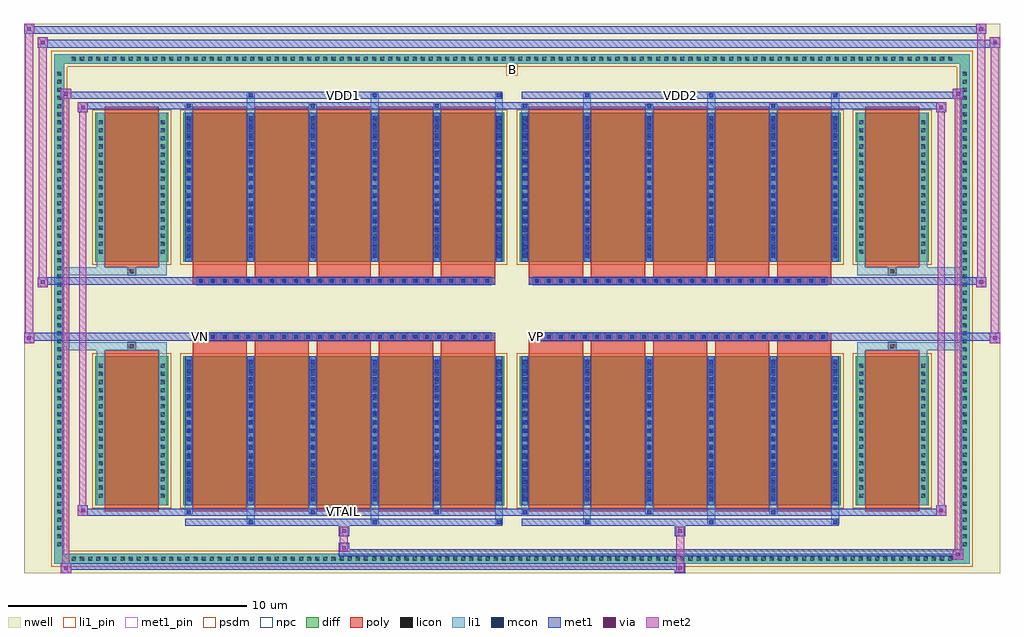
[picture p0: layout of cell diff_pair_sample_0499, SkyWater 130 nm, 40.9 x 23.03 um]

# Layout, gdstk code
import gdstk
lib = gdstk.Library(unit=1e-6, precision=5e-09)
def R(c, l, rs):  # rectangles x0, y0, x1, y1
    for r in rs: c.add(gdstk.rectangle(r[:2], r[2:], *l))
def A(c, l, x, y, w, h, nx, ny, dx, dy):  # array of equal rectangles
    R(c, l, [(x+i*dx, y+j*dy, x+i*dx+w, y+j*dy+h) for i in range(nx) for j in range(ny)])
def P(c, l, *ps):  # polygons
    for p in ps: c.add(gdstk.Polygon(p, *l))
nwell = (64, 20)
diff = (65, 20)
poly = (66, 20)
licon = (66, 44)
li1_pin = (67, 16)
li1 = (67, 20)
mcon = (67, 44)
met1_pin = (68, 16)
met1 = (68, 20)
via = (68, 44)
met2 = (69, 20)
psdm = (94, 20)
npc = (95, 20)

diff_pair_sample_0499 = lib.new_cell('diff_pair_sample_0499')
R(diff_pair_sample_0499, nwell, [(-20.45,-11.08,20.45,11.95), (-17.77,-9.27,-0.01,-0.805), (0.01,-9.27,17.77,-0.805), (-17.77,0.805,-0.01,9.27), (0.01,0.805,17.77,9.27)])
A(diff_pair_sample_0499, diff, -18.565, -10.68, 0.41, 0.41, 109, 2, 0.34, 20.95)
A(diff_pair_sample_0499, diff, -19.18, -10.065, 0.41, 0.41, 1, 59, 0, 0.34)
A(diff_pair_sample_0499, diff, 18.77, -10.065, 0.41, 0.41, 1, 59, 0, 0.34)
R(diff_pair_sample_0499, diff, [(-18.565,-10.68,18.565,-10.27), (-19.18,-10.065,-18.77,10.065), (18.77,-10.065,19.18,10.065), (-17.46,-8.225,-14.41,-1.985), (-13.77,-8.225,-0.32,-1.985), (0.32,-8.225,13.77,-1.985), (14.41,-8.225,17.46,-1.985), (-17.46,1.985,-14.41,8.225), (-13.77,1.985,-0.32,8.225), (0.32,1.985,13.77,8.225), (14.41,1.985,17.46,8.225), (-18.565,10.27,18.565,10.68)])
P(diff_pair_sample_0499, diff, [(19.18,10.68),(-19.18,10.68),(-19.18,-10.27),(-18.77,-10.27),(-18.77,10.27),(18.77,10.27),(18.77,-10.27),(-18.77,-10.27),(-19.18,-10.27),(-19.18,-10.68),(19.18,-10.68)])
A(diff_pair_sample_0499, poly, -13.38, -8.475, 2.27, 6.74, 5, 2, 2.6, 10.21)
A(diff_pair_sample_0499, poly, 0.71, -8.475, 2.27, 6.74, 5, 2, 2.6, 10.21)
A(diff_pair_sample_0499, poly, -13.38, -1.735, 2.27, 0.4, 5, 2, 2.6, 3.07)
A(diff_pair_sample_0499, poly, 0.71, -1.735, 2.27, 0.4, 5, 2, 2.6, 3.07)
A(diff_pair_sample_0499, poly, -13.21, -1.335, 0.33, 0.33, 25, 2, 0.5, 2.34)
A(diff_pair_sample_0499, poly, 0.88, -1.335, 0.33, 0.33, 25, 2, 0.5, 2.34)
R(diff_pair_sample_0499, poly, [(-17.07,-8.475,-14.8,-1.735), (14.8,-8.475,17.07,-1.735), (-16.1,-1.735,-15.77,-1.405), (-16.1,-1.735,-15.77,-1.405), (15.77,-1.735,16.1,-1.405), (15.77,-1.735,16.1,-1.405), (-13.38,-1.335,-0.71,-1.005), (0.71,-1.335,13.38,-1.005), (-13.38,1.005,-0.71,1.335), (0.71,1.005,13.38,1.335), (-16.1,1.405,-15.77,1.735), (-16.1,1.405,-15.77,1.735), (15.77,1.405,16.1,1.735), (15.77,1.405,16.1,1.735), (-17.07,1.735,-14.8,8.475), (14.8,1.735,17.07,8.475)])
A(diff_pair_sample_0499, licon, -18.445, -10.56, 0.17, 0.17, 109, 2, 0.34, 20.95)
A(diff_pair_sample_0499, licon, -19.06, -9.945, 0.17, 0.17, 1, 59, 0, 0.34)
A(diff_pair_sample_0499, licon, 18.89, -9.945, 0.17, 0.17, 1, 59, 0, 0.34)
A(diff_pair_sample_0499, licon, -17.32, -7.91, 0.17, 0.17, 1, 17, 0, 0.34)
A(diff_pair_sample_0499, licon, -14.72, -7.91, 0.17, 0.17, 1, 17, 0, 0.34)
A(diff_pair_sample_0499, licon, -13.63, -7.91, 0.17, 0.17, 6, 17, 2.6, 0.34)
A(diff_pair_sample_0499, licon, 0.46, -7.91, 0.17, 0.17, 6, 17, 2.6, 0.34)
A(diff_pair_sample_0499, licon, 14.55, -7.91, 0.17, 0.17, 1, 17, 0, 0.34)
A(diff_pair_sample_0499, licon, 17.15, -7.91, 0.17, 0.17, 1, 17, 0, 0.34)
A(diff_pair_sample_0499, licon, -13.13, -1.255, 0.17, 0.17, 25, 2, 0.5, 2.34)
A(diff_pair_sample_0499, licon, 0.96, -1.255, 0.17, 0.17, 25, 2, 0.5, 2.34)
A(diff_pair_sample_0499, licon, -17.32, 2.3, 0.17, 0.17, 1, 17, 0, 0.34)
A(diff_pair_sample_0499, licon, -14.72, 2.3, 0.17, 0.17, 1, 17, 0, 0.34)
A(diff_pair_sample_0499, licon, -13.63, 2.3, 0.17, 0.17, 6, 17, 2.6, 0.34)
A(diff_pair_sample_0499, licon, 0.46, 2.3, 0.17, 0.17, 6, 17, 2.6, 0.34)
A(diff_pair_sample_0499, licon, 14.55, 2.3, 0.17, 0.17, 1, 17, 0, 0.34)
A(diff_pair_sample_0499, licon, 17.15, 2.3, 0.17, 0.17, 1, 17, 0, 0.34)
R(diff_pair_sample_0499, licon, [(-16.02,-1.655,-15.85,-1.485), (15.85,-1.655,16.02,-1.485), (-16.02,1.485,-15.85,1.655), (15.85,1.485,16.02,1.655)])
R(diff_pair_sample_0499, li1_pin, [(-0.25,9.77,0.25,10.27)])
A(diff_pair_sample_0499, li1, -18.525, -10.64, 0.33, 0.33, 109, 2, 0.34, 20.95)
A(diff_pair_sample_0499, li1, -19.14, -10.025, 0.33, 0.33, 1, 59, 0, 0.34)
A(diff_pair_sample_0499, li1, 18.81, -10.025, 0.33, 0.33, 1, 59, 0, 0.34)
A(diff_pair_sample_0499, li1, -11.11, -9.03, 0.33, 0.805, 3, 2, 5.2, 17.255)
A(diff_pair_sample_0499, li1, -11.03, -9.03, 0.17, 0.17, 3, 2, 5.2, 17.89)
A(diff_pair_sample_0499, li1, 2.98, -9.03, 0.33, 0.805, 3, 2, 5.2, 17.255)
A(diff_pair_sample_0499, li1, 3.06, -9.03, 0.17, 0.17, 3, 2, 5.2, 17.89)
A(diff_pair_sample_0499, li1, -13.71, -8.6, 0.33, 0.375, 3, 2, 5.2, 16.825)
A(diff_pair_sample_0499, li1, -13.63, -8.6, 0.17, 0.17, 3, 2, 5.2, 17.03)
A(diff_pair_sample_0499, li1, 0.38, -8.6, 0.33, 0.375, 3, 2, 5.2, 16.825)
A(diff_pair_sample_0499, li1, 0.46, -8.6, 0.17, 0.17, 3, 2, 5.2, 17.03)
A(diff_pair_sample_0499, li1, -13.71, -8.225, 0.33, 6.24, 6, 2, 2.6, 10.21)
A(diff_pair_sample_0499, li1, 0.38, -8.225, 0.33, 6.24, 6, 2, 2.6, 10.21)
A(diff_pair_sample_0499, li1, -13.63, -8.07, 0.17, 0.17, 6, 17, 2.6, 0.36)
A(diff_pair_sample_0499, li1, -13.63, -8.07, 0.17, 5.93, 6, 2, 2.6, 10.21)
A(diff_pair_sample_0499, li1, 0.46, -8.07, 0.17, 0.17, 6, 17, 2.6, 0.36)
A(diff_pair_sample_0499, li1, 0.46, -8.07, 0.17, 5.93, 6, 2, 2.6, 10.21)
A(diff_pair_sample_0499, li1, -17.4, -7.99, 0.33, 0.33, 1, 17, 0, 0.34)
A(diff_pair_sample_0499, li1, -14.8, -7.99, 0.33, 0.33, 1, 17, 0, 0.34)
A(diff_pair_sample_0499, li1, -13.71, -7.99, 0.33, 0.33, 6, 17, 2.6, 0.34)
A(diff_pair_sample_0499, li1, 0.38, -7.99, 0.33, 0.33, 6, 17, 2.6, 0.34)
A(diff_pair_sample_0499, li1, 14.47, -7.99, 0.33, 0.33, 1, 17, 0, 0.34)
A(diff_pair_sample_0499, li1, 17.07, -7.99, 0.33, 0.33, 1, 17, 0, 0.34)
A(diff_pair_sample_0499, li1, -13.21, -1.335, 0.33, 0.33, 25, 2, 0.5, 2.34)
A(diff_pair_sample_0499, li1, 0.88, -1.335, 0.33, 0.33, 25, 2, 0.5, 2.34)
A(diff_pair_sample_0499, li1, -13.63, 2.14, 0.17, 0.17, 6, 17, 2.6, 0.36)
A(diff_pair_sample_0499, li1, 0.46, 2.14, 0.17, 0.17, 6, 17, 2.6, 0.36)
A(diff_pair_sample_0499, li1, -17.4, 2.22, 0.33, 0.33, 1, 17, 0, 0.34)
A(diff_pair_sample_0499, li1, -14.8, 2.22, 0.33, 0.33, 1, 17, 0, 0.34)
A(diff_pair_sample_0499, li1, -13.71, 2.22, 0.33, 0.33, 6, 17, 2.6, 0.34)
A(diff_pair_sample_0499, li1, 0.38, 2.22, 0.33, 0.33, 6, 17, 2.6, 0.34)
A(diff_pair_sample_0499, li1, 14.47, 2.22, 0.33, 0.33, 1, 17, 0, 0.34)
A(diff_pair_sample_0499, li1, 17.07, 2.22, 0.33, 0.33, 1, 17, 0, 0.34)
R(diff_pair_sample_0499, li1, [(-19.18,-10.68,-18.77,-10.27), (-19.18,-10.68,-18.77,-10.27), (-18.77,-10.68,18.77,-10.27), (18.77,-10.68,19.18,-10.27), (18.77,-10.68,19.18,-10.27), (-19.18,-10.27,-18.77,10.27), (18.77,-10.27,19.18,10.27), (-17.4,-8.225,-17.07,-1.985), (-14.8,-8.225,-14.47,-1.985), (14.47,-8.225,14.8,-1.985), (17.07,-8.225,17.4,-1.985), (-17.4,-1.985,-17.07,-1.405), (-14.8,-1.985,-14.47,-1.405), (14.47,-1.985,14.8,-1.405), (17.07,-1.985,17.4,-1.405), (-19.18,-1.735,-16.1,-1.405), (-17.4,-1.735,-16.1,-1.405), (-16.1,-1.735,-15.77,-1.405), (-15.77,-1.735,-14.47,-1.405), (14.47,-1.735,15.77,-1.405), (15.77,-1.735,16.1,-1.405), (15.77,-1.735,19.18,-1.405), (16.1,-1.735,17.4,-1.405), (-19.18,1.405,-16.1,1.735), (-17.4,1.405,-16.1,1.735), (-17.4,1.405,-17.07,1.985), (-16.1,1.405,-15.77,1.735), (-15.77,1.405,-14.47,1.735), (-14.8,1.405,-14.47,1.985), (14.47,1.405,15.77,1.735), (14.47,1.405,14.8,1.985), (15.77,1.405,16.1,1.735), (15.77,1.405,19.18,1.735), (16.1,1.405,17.4,1.735), (17.07,1.405,17.4,1.985), (-17.4,1.985,-17.07,8.225), (-14.8,1.985,-14.47,8.225), (14.47,1.985,14.8,8.225), (17.07,1.985,17.4,8.225), (-19.18,10.27,-18.77,10.68), (-19.18,10.27,-18.77,10.68), (-18.77,10.27,18.77,10.68), (18.77,10.27,19.18,10.68), (18.77,10.27,19.18,10.68)])
A(diff_pair_sample_0499, mcon, -11.03, -9.03, 0.17, 0.17, 3, 2, 5.2, 17.89)
A(diff_pair_sample_0499, mcon, 3.06, -9.03, 0.17, 0.17, 3, 2, 5.2, 17.89)
A(diff_pair_sample_0499, mcon, -13.63, -8.6, 0.17, 0.17, 3, 2, 5.2, 17.03)
A(diff_pair_sample_0499, mcon, 0.46, -8.6, 0.17, 0.17, 3, 2, 5.2, 17.03)
A(diff_pair_sample_0499, mcon, -13.63, -8.07, 0.17, 0.17, 6, 17, 2.6, 0.36)
A(diff_pair_sample_0499, mcon, 0.46, -8.07, 0.17, 0.17, 6, 17, 2.6, 0.36)
A(diff_pair_sample_0499, mcon, -13.13, -1.255, 0.17, 0.17, 25, 2, 0.5, 2.34)
A(diff_pair_sample_0499, mcon, 0.96, -1.255, 0.17, 0.17, 25, 2, 0.5, 2.34)
A(diff_pair_sample_0499, mcon, -13.63, 2.14, 0.17, 0.17, 6, 17, 2.6, 0.36)
A(diff_pair_sample_0499, mcon, 0.46, 2.14, 0.17, 0.17, 6, 17, 2.6, 0.36)
R(diff_pair_sample_0499, met1_pin, [(-7.18,-8.64,-6.91,-8.37), (-13.18,-1.295,-12.91,-1.025), (0.91,-1.295,1.18,-1.025), (-7.18,8.82,-6.91,9.09), (6.91,8.82,7.18,9.09)])
A(diff_pair_sample_0499, met1, -11.09, -9.09, 0.29, 0.29, 3, 2, 5.2, 17.89)
A(diff_pair_sample_0499, met1, 3, -9.09, 0.29, 0.29, 3, 2, 5.2, 17.89)
A(diff_pair_sample_0499, met1, -13.69, -8.66, 0.29, 0.29, 3, 2, 5.2, 17.03)
A(diff_pair_sample_0499, met1, 0.4, -8.66, 0.29, 0.29, 3, 2, 5.2, 17.03)
A(diff_pair_sample_0499, met1, -13.69, -8.225, 0.29, 6.24, 6, 2, 2.6, 10.21)
A(diff_pair_sample_0499, met1, 0.4, -8.225, 0.29, 6.24, 6, 2, 2.6, 10.21)
A(diff_pair_sample_0499, met1, -13.69, -8.13, 0.29, 0.29, 6, 17, 2.6, 0.36)
A(diff_pair_sample_0499, met1, 0.4, -8.13, 0.29, 0.29, 6, 17, 2.6, 0.36)
A(diff_pair_sample_0499, met1, -13.19, -1.315, 0.29, 0.29, 25, 2, 0.5, 2.34)
A(diff_pair_sample_0499, met1, 0.9, -1.315, 0.29, 0.29, 25, 2, 0.5, 2.34)
A(diff_pair_sample_0499, met1, -13.69, 2.08, 0.29, 0.29, 6, 17, 2.6, 0.36)
A(diff_pair_sample_0499, met1, 0.4, 2.08, 0.29, 0.29, 6, 17, 2.6, 0.36)
R(diff_pair_sample_0499, met1, [(-18.91,-11.08,-18.48,-10.65), (6.83,-11.08,7.26,-10.65), (-18.91,-10.94,7.26,-10.65), (18.48,-10.51,18.91,-10.08), (-7.26,-10.37,18.91,-10.08), (-7.26,-10.23,-6.83,-9.8), (-7.26,-9.52,-6.83,-9.09), (6.83,-9.52,7.26,-9.09), (-13.69,-9.09,-0.4,-8.8), (0.4,-9.09,13.69,-8.8), (-18.2,-8.66,-17.77,-8.23), (-18.2,-8.66,-13.69,-8.37), (-13.69,-8.66,-0.4,-8.37), (-0.4,-8.66,0.4,-8.37), (0.4,-8.66,13.69,-8.37), (13.69,-8.66,18.2,-8.37), (17.77,-8.66,18.2,-8.23), (-20.45,-1.435,-20.02,-1.005), (20.02,-1.435,20.45,-1.005), (-20.45,-1.335,-0.71,-1.005), (-13.38,-1.335,-0.71,-1.005), (0.71,-1.335,13.38,-1.005), (0.71,-1.335,20.45,-1.005), (-19.88,0.905,-19.45,1.335), (19.45,0.905,19.88,1.335), (-19.88,1.005,-13.38,1.335), (-13.38,1.005,-0.71,1.335), (0.71,1.005,13.38,1.335), (13.38,1.005,19.88,1.335), (-18.2,8.23,-17.77,8.66), (17.77,8.23,18.2,8.66), (-18.2,8.37,-13.69,8.66), (-13.69,8.37,-0.4,8.66), (-0.4,8.37,0.4,8.66), (0.4,8.37,13.69,8.66), (13.69,8.37,18.2,8.66), (-18.91,8.8,-18.48,9.23), (-18.91,8.8,-13.69,9.09), (-13.69,8.8,-0.4,9.09), (0.4,8.8,13.69,9.09), (13.69,8.8,18.91,9.09), (18.48,8.8,18.91,9.23), (-19.88,10.95,-19.45,11.38), (-19.88,10.95,-17.77,11.28), (-17.77,10.95,17.77,11.28), (17.77,10.95,20.45,11.28), (20.02,10.95,20.45,11.38), (-20.45,11.52,-20.02,11.95), (-20.45,11.52,-17.77,11.85), (-17.77,11.52,17.77,11.85), (17.77,11.52,19.88,11.85), (19.45,11.52,19.88,11.95)])
R(diff_pair_sample_0499, via, [(-18.77,-10.94,-18.62,-10.79), (6.97,-10.94,7.12,-10.79), (18.62,-10.37,18.77,-10.22), (-7.12,-10.09,-6.97,-9.94), (-7.12,-9.38,-6.97,-9.23), (6.97,-9.38,7.12,-9.23), (-18.06,-8.52,-17.91,-8.37), (17.91,-8.52,18.06,-8.37), (-20.31,-1.295,-20.16,-1.145), (20.16,-1.295,20.31,-1.145), (-19.74,1.045,-19.59,1.195), (19.59,1.045,19.74,1.195), (-18.06,8.37,-17.91,8.52), (17.91,8.37,18.06,8.52), (-18.77,8.94,-18.62,9.09), (18.62,8.94,18.77,9.09), (-19.74,11.09,-19.59,11.24), (20.16,11.09,20.31,11.24), (-20.31,11.66,-20.16,11.81), (19.59,11.66,19.74,11.81)])
R(diff_pair_sample_0499, met2, [(-18.91,-11.08,-18.48,-10.65), (-18.84,-11.08,-18.55,9.23), (-18.55,-11.08,-18.48,-10.65), (-18.86,-11.03,-18.53,-10.7), (6.88,-11.03,7.21,-10.7), (6.88,-10.7,7.21,-9.47), (18.48,-10.51,18.91,-10.08), (18.55,-10.51,18.84,9.23), (18.84,-10.51,18.91,-10.08), (18.53,-10.46,18.86,-10.13), (-7.21,-10.18,-6.88,-9.85), (-7.21,-9.85,-6.88,-9.47), (-7.21,-9.47,-6.88,-9.14), (6.88,-9.47,7.21,-9.14), (-18.2,-8.66,-17.77,-8.23), (-18.13,-8.66,-17.84,8.66), (-17.84,-8.66,-17.77,-8.23), (17.77,-8.66,18.2,-8.23), (17.84,-8.66,18.13,8.66), (18.13,-8.66,18.2,-8.23), (-18.15,-8.61,-17.82,-8.28), (17.82,-8.61,18.15,-8.28), (-20.45,-1.435,-20.02,-1.005), (-20.4,-1.435,-20.07,11.95), (-20.07,-1.435,-20.02,-1.005), (20.02,-1.435,20.45,-1.005), (20.07,-1.435,20.4,11.38), (20.4,-1.435,20.45,-1.005), (-20.4,-1.385,-20.07,-1.055), (20.07,-1.385,20.4,-1.055), (-19.88,0.905,-19.45,1.335), (-19.83,0.905,-19.5,11.38), (-19.5,0.905,-19.45,1.335), (19.45,0.905,19.88,1.335), (19.5,0.905,19.83,11.95), (19.83,0.905,19.88,1.335), (-19.83,0.955,-19.5,1.285), (19.5,0.955,19.83,1.285), (-18.2,8.23,-17.77,8.66), (-17.84,8.23,-17.77,8.66), (17.77,8.23,18.2,8.66), (18.13,8.23,18.2,8.66), (-18.15,8.28,-17.82,8.61), (17.82,8.28,18.15,8.61), (-18.91,8.8,-18.48,9.23), (-18.55,8.8,-18.48,9.23), (18.48,8.8,18.91,9.23), (18.84,8.8,18.91,9.23), (-18.86,8.85,-18.53,9.18), (18.53,8.85,18.86,9.18), (-19.88,10.95,-19.45,11.38), (-19.5,10.95,-19.45,11.38), (20.02,10.95,20.45,11.38), (20.4,10.95,20.45,11.38), (-19.83,11,-19.5,11.33), (20.07,11,20.4,11.33), (-20.45,11.52,-20.02,11.95), (-20.07,11.52,-20.02,11.95), (19.45,11.52,19.88,11.95), (19.83,11.52,19.88,11.95), (-20.4,11.57,-20.07,11.9), (19.5,11.57,19.83,11.9)])
R(diff_pair_sample_0499, psdm, [(-17.59,-8.355,-14.28,-1.855), (-13.9,-8.355,-0.19,-1.855), (0.19,-8.355,13.9,-1.855), (14.28,-8.355,17.59,-1.855), (-17.59,1.855,-14.28,8.355), (-13.9,1.855,-0.19,8.355), (0.19,1.855,13.9,8.355), (14.28,1.855,17.59,8.355)])
P(diff_pair_sample_0499, psdm, [(19.31,10.81),(-19.31,10.81),(-19.31,-10.14),(-18.64,-10.14),(-18.64,10.14),(18.64,10.14),(18.64,-10.14),(-18.64,-10.14),(-19.31,-10.14),(-19.31,-10.81),(19.31,-10.81)])
A(diff_pair_sample_0499, npc, -13.23, -1.355, 0.37, 0.37, 25, 2, 0.5, 2.34)
A(diff_pair_sample_0499, npc, 0.86, -1.355, 0.37, 0.37, 25, 2, 0.5, 2.34)
R(diff_pair_sample_0499, npc, [(-16.12,-1.755,-15.75,-1.385), (15.75,-1.755,16.12,-1.385), (-13.23,-1.355,-12.36,-0.985), (-13.23,-1.355,-12.36,-0.985), (-12.73,-1.355,-11.86,-0.985), (-12.73,-1.355,-11.86,-0.985), (-12.23,-1.355,-11.36,-0.985), (-12.23,-1.355,-11.36,-0.985), (-11.73,-1.355,-10.86,-0.985), (-11.73,-1.355,-10.86,-0.985), (-11.23,-1.355,-10.36,-0.985), (-11.23,-1.355,-10.36,-0.985), (-10.73,-1.355,-9.86,-0.985), (-10.73,-1.355,-9.86,-0.985), (-10.23,-1.355,-9.36,-0.985), (-10.23,-1.355,-9.36,-0.985), (-9.73,-1.355,-8.86,-0.985), (-9.73,-1.355,-8.86,-0.985), (-9.23,-1.355,-8.36,-0.985), (-9.23,-1.355,-8.36,-0.985), (-8.73,-1.355,-7.86,-0.985), (-8.73,-1.355,-7.86,-0.985), (-8.23,-1.355,-7.36,-0.985), (-8.23,-1.355,-7.36,-0.985), (-7.73,-1.355,-6.86,-0.985), (-7.73,-1.355,-6.86,-0.985), (-7.23,-1.355,-6.36,-0.985), (-7.23,-1.355,-6.36,-0.985), (-6.73,-1.355,-5.86,-0.985), (-6.73,-1.355,-5.86,-0.985), (-6.23,-1.355,-5.36,-0.985), (-6.23,-1.355,-5.36,-0.985), (-5.73,-1.355,-4.86,-0.985), (-5.73,-1.355,-4.86,-0.985), (-5.23,-1.355,-4.36,-0.985), (-5.23,-1.355,-4.36,-0.985), (-4.73,-1.355,-3.86,-0.985), (-4.73,-1.355,-3.86,-0.985), (-4.23,-1.355,-3.36,-0.985), (-4.23,-1.355,-3.36,-0.985), (-3.73,-1.355,-2.86,-0.985), (-3.73,-1.355,-2.86,-0.985), (-3.23,-1.355,-2.36,-0.985), (-3.23,-1.355,-2.36,-0.985), (-2.73,-1.355,-1.86,-0.985), (-2.73,-1.355,-1.86,-0.985), (-2.23,-1.355,-1.36,-0.985), (-2.23,-1.355,-1.36,-0.985), (-1.73,-1.355,-0.86,-0.985), (-1.73,-1.355,-0.86,-0.985), (0.86,-1.355,1.73,-0.985), (0.86,-1.355,1.73,-0.985), (1.36,-1.355,2.23,-0.985), (1.36,-1.355,2.23,-0.985), (1.86,-1.355,2.73,-0.985), (1.86,-1.355,2.73,-0.985), (2.36,-1.355,3.23,-0.985), (2.36,-1.355,3.23,-0.985), (2.86,-1.355,3.73,-0.985), (2.86,-1.355,3.73,-0.985), (3.36,-1.355,4.23,-0.985), (3.36,-1.355,4.23,-0.985), (3.86,-1.355,4.73,-0.985), (3.86,-1.355,4.73,-0.985), (4.36,-1.355,5.23,-0.985), (4.36,-1.355,5.23,-0.985), (4.86,-1.355,5.73,-0.985), (4.86,-1.355,5.73,-0.985), (5.36,-1.355,6.23,-0.985), (5.36,-1.355,6.23,-0.985), (5.86,-1.355,6.73,-0.985), (5.86,-1.355,6.73,-0.985), (6.36,-1.355,7.23,-0.985), (6.36,-1.355,7.23,-0.985), (6.86,-1.355,7.73,-0.985), (6.86,-1.355,7.73,-0.985), (7.36,-1.355,8.23,-0.985), (7.36,-1.355,8.23,-0.985), (7.86,-1.355,8.73,-0.985), (7.86,-1.355,8.73,-0.985), (8.36,-1.355,9.23,-0.985), (8.36,-1.355,9.23,-0.985), (8.86,-1.355,9.73,-0.985), (8.86,-1.355,9.73,-0.985), (9.36,-1.355,10.23,-0.985), (9.36,-1.355,10.23,-0.985), (9.86,-1.355,10.73,-0.985), (9.86,-1.355,10.73,-0.985), (10.36,-1.355,11.23,-0.985), (10.36,-1.355,11.23,-0.985), (10.86,-1.355,11.73,-0.985), (10.86,-1.355,11.73,-0.985), (11.36,-1.355,12.23,-0.985), (11.36,-1.355,12.23,-0.985), (11.86,-1.355,12.73,-0.985), (11.86,-1.355,12.73,-0.985), (12.36,-1.355,13.23,-0.985), (12.36,-1.355,13.23,-0.985), (-13.23,0.985,-12.36,1.355), (-13.23,0.985,-12.36,1.355), (-12.73,0.985,-11.86,1.355), (-12.73,0.985,-11.86,1.355), (-12.23,0.985,-11.36,1.355), (-12.23,0.985,-11.36,1.355), (-11.73,0.985,-10.86,1.355), (-11.73,0.985,-10.86,1.355), (-11.23,0.985,-10.36,1.355), (-11.23,0.985,-10.36,1.355), (-10.73,0.985,-9.86,1.355), (-10.73,0.985,-9.86,1.355), (-10.23,0.985,-9.36,1.355), (-10.23,0.985,-9.36,1.355), (-9.73,0.985,-8.86,1.355), (-9.73,0.985,-8.86,1.355), (-9.23,0.985,-8.36,1.355), (-9.23,0.985,-8.36,1.355), (-8.73,0.985,-7.86,1.355), (-8.73,0.985,-7.86,1.355), (-8.23,0.985,-7.36,1.355), (-8.23,0.985,-7.36,1.355), (-7.73,0.985,-6.86,1.355), (-7.73,0.985,-6.86,1.355), (-7.23,0.985,-6.36,1.355), (-7.23,0.985,-6.36,1.355), (-6.73,0.985,-5.86,1.355), (-6.73,0.985,-5.86,1.355), (-6.23,0.985,-5.36,1.355), (-6.23,0.985,-5.36,1.355), (-5.73,0.985,-4.86,1.355), (-5.73,0.985,-4.86,1.355), (-5.23,0.985,-4.36,1.355), (-5.23,0.985,-4.36,1.355), (-4.73,0.985,-3.86,1.355), (-4.73,0.985,-3.86,1.355), (-4.23,0.985,-3.36,1.355), (-4.23,0.985,-3.36,1.355), (-3.73,0.985,-2.86,1.355), (-3.73,0.985,-2.86,1.355), (-3.23,0.985,-2.36,1.355), (-3.23,0.985,-2.36,1.355), (-2.73,0.985,-1.86,1.355), (-2.73,0.985,-1.86,1.355), (-2.23,0.985,-1.36,1.355), (-2.23,0.985,-1.36,1.355), (-1.73,0.985,-0.86,1.355), (-1.73,0.985,-0.86,1.355), (0.86,0.985,1.73,1.355), (0.86,0.985,1.73,1.355), (1.36,0.985,2.23,1.355), (1.36,0.985,2.23,1.355), (1.86,0.985,2.73,1.355), (1.86,0.985,2.73,1.355), (2.36,0.985,3.23,1.355), (2.36,0.985,3.23,1.355), (2.86,0.985,3.73,1.355), (2.86,0.985,3.73,1.355), (3.36,0.985,4.23,1.355), (3.36,0.985,4.23,1.355), (3.86,0.985,4.73,1.355), (3.86,0.985,4.73,1.355), (4.36,0.985,5.23,1.355), (4.36,0.985,5.23,1.355), (4.86,0.985,5.73,1.355), (4.86,0.985,5.73,1.355), (5.36,0.985,6.23,1.355), (5.36,0.985,6.23,1.355), (5.86,0.985,6.73,1.355), (5.86,0.985,6.73,1.355), (6.36,0.985,7.23,1.355), (6.36,0.985,7.23,1.355), (6.86,0.985,7.73,1.355), (6.86,0.985,7.73,1.355), (7.36,0.985,8.23,1.355), (7.36,0.985,8.23,1.355), (7.86,0.985,8.73,1.355), (7.86,0.985,8.73,1.355), (8.36,0.985,9.23,1.355), (8.36,0.985,9.23,1.355), (8.86,0.985,9.73,1.355), (8.86,0.985,9.73,1.355), (9.36,0.985,10.23,1.355), (9.36,0.985,10.23,1.355), (9.86,0.985,10.73,1.355), (9.86,0.985,10.73,1.355), (10.36,0.985,11.23,1.355), (10.36,0.985,11.23,1.355), (10.86,0.985,11.73,1.355), (10.86,0.985,11.73,1.355), (11.36,0.985,12.23,1.355), (11.36,0.985,12.23,1.355), (11.86,0.985,12.73,1.355), (11.86,0.985,12.73,1.355), (12.36,0.985,13.23,1.355), (12.36,0.985,13.23,1.355), (-16.12,1.385,-15.75,1.755), (15.75,1.385,16.12,1.755)])
diff_pair_sample_0499.add(gdstk.Label('VTAIL', (-7.045,-8.505), layer=68, texttype=5))
diff_pair_sample_0499.add(gdstk.Label('VN', (-13.045,-1.16), layer=68, texttype=5))
diff_pair_sample_0499.add(gdstk.Label('VP', (1.045,-1.16), layer=68, texttype=5))
diff_pair_sample_0499.add(gdstk.Label('B', (0,10.02), layer=67, texttype=5))
diff_pair_sample_0499.add(gdstk.Label('VDD2', (7.045,8.955), layer=68, texttype=5))
diff_pair_sample_0499.add(gdstk.Label('VDD1', (-7.045,8.955), layer=68, texttype=5))

lib.write_gds('diff_pair_sample_0499.gds')
